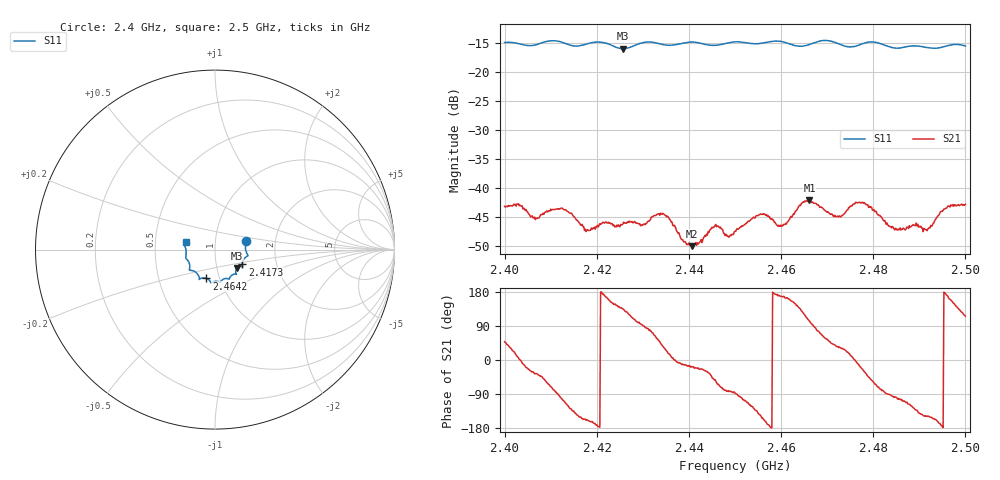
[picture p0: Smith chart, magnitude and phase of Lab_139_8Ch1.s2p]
# Hz S RI R 50
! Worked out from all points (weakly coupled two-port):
!   601 points, 2.4 GHz to 2.5 GHz, reference 50 ohm
!   highest |S21| = -42.21 dB at 2.4662 GHz (marker M1); lowest = -50.1 dB at 2.4407 GHz (marker M2)
!   lowest |S11| = -15.9 dB at 2.4257 GHz (marker M3), VSWR 1.38, Z = 62.4 - j13.1 ohm
!   |S11| at or under -10 dB: start of sweep to end of sweep
!   S12 and S22 are empty: the file has one direction only
!   S11 on the Smith chart (normalised r, x): 2.4 GHz: 1.41, +0.14; 2.4173 GHz: 1.34, -0.23; 2.4642 GHz: 0.86, -0.29; 2.5 GHz: 0.72, +0.06
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2.4e9  0.1738 0.0491  0.0046 0.00515  0 0  0 0
2.403333e9  0.1726 0.0316  0.00707 7.27e-05  0 0  0 0
2.406667e9  0.1718 -0.00685  0.00429 -0.00312  0 0  0 0
2.412667e9  0.1763 -0.0389  -0.00184 -0.00626  0 0  0 0
2.416667e9  0.1529 -0.0754  -0.00426 -0.00212  0 0  0 0
2.417333e9  0.1521 -0.0828  -0.00389 -0.00174  0 0  0 0
2.425667e9  0.1224 -0.1023  -0.00345 0.00341  0 0  0 0
2.433333e9  0.1128 -0.1367  0.0036 0.00472  0 0  0 0
2.440667e9  0.0787 -0.1645  0.00298 -0.000926  0 0  0 0
2.4455e9  0.0509 -0.1629  0.0028 -0.00362  0 0  0 0
2.45e9  0.0298 -0.1807  0.000218 -0.00419  0 0  0 0
2.455667e9  -0.00404 -0.1776  -0.00505 -0.00309  0 0  0 0
2.4605e9  -0.025 -0.1811  -0.0047 0.00102  0 0  0 0
2.464167e9  -0.0481 -0.1606  -0.00497 0.00494  0 0  0 0
2.466167e9  -0.0714 -0.1582  -0.00169 0.00757  0 0  0 0
2.466667e9  -0.076 -0.1594  -0.000679 0.00741  0 0  0 0
2.4725e9  -0.0887 -0.1518  0.00469 0.00302  0 0  0 0
2.477833e9  -0.1342 -0.1158  0.00656 -0.00333  0 0  0 0
2.483333e9  -0.1406 -0.0893  -1.67e-05 -0.00465  0 0  0 0
2.491333e9  -0.1613 -0.0319  -0.00365 -0.00237  0 0  0 0
2.495833e9  -0.1674 0.018  -0.0066 0.000847  0 0  0 0
2.5e9  -0.1635 0.0417  -0.00311 0.00648  0 0  0 0
